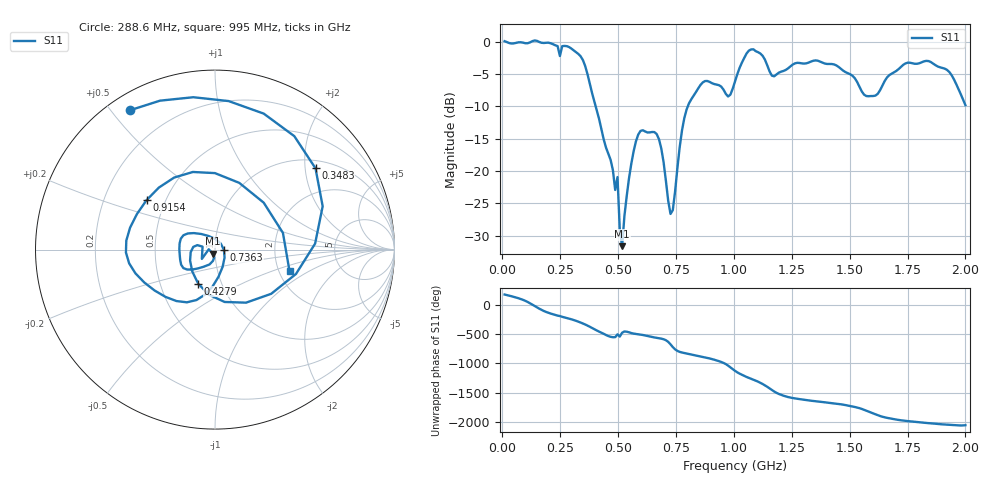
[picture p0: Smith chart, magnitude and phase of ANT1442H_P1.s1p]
!Created with skrf (http://scikit-rf.org).
# Hz S RI R 50.0
!freq ReS11 ImS11
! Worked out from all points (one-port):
!   201 points, 10 MHz to 2 GHz, reference 50 ohm
!   lowest |S11| = -31.6 dB at 517.5 MHz (marker M1), VSWR 1.05, Z = 48.7 - j2.26 ohm
!   |S11| at or under -10 dB: 403.6 MHz to 801.2 MHz (397.6 MHz wide, 66 % of centre)
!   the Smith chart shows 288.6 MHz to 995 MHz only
!   S11 on the Smith chart (normalised r, x): 288.6 MHz: 0.06, +0.56; 348.3 MHz: 1.21, +2.27; 427.9 MHz: 0.78, -0.31; 736.4 MHz: 1.10, -0.00; 915.5 MHz: 0.39, +0.28; 995 MHz: 2.28, -0.68
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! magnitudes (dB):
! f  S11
! 10 MHz  0.1
! 258.8 MHz  -0.7
! 288.6 MHz  -0.8
! 348.3 MHz  -2.9
! 427.9 MHz  -13.5
! 487.6 MHz  -22.9
! 497.6 MHz  -20.9
! 507.5 MHz  -29.1
! 517.5 MHz  -31.6
! 557.2 MHz  -18.9
! 597 MHz  -13.8
! 676.6 MHz  -15.1
! 726.4 MHz  -26.7
! 736.4 MHz  -26.1
! 756.2 MHz  -19.5
! 776.1 MHz  -13.7
! 806 MHz  -9.6
! 915.5 MHz  -6.5
! 995 MHz  -7.3
! 1.005 GHz  -6.1
! 1.075 GHz  -1.2
! 1.164 GHz  -5.2
! 1.254 GHz  -3.5
! 1.502 GHz  -5.0
! 1.612 GHz  -8.3
! 1.751 GHz  -3.2
! 1.92 GHz  -4.3
! 2 GHz  -9.8
